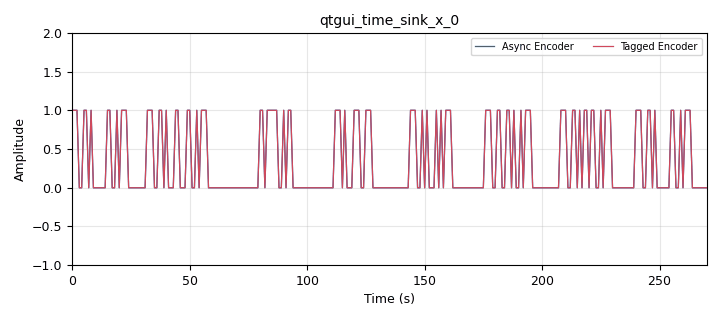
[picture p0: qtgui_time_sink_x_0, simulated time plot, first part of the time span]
<?xml version='1.0' encoding='utf-8'?>
<?grc format='1' created='3.7.10'?>
<flow_graph>
<block>
<key>options</key>
<param><key>id</key><value>fecapi_async_encoders</value></param>
<param><key>category</key><value>Custom</value></param>
<param><key>generate_options</key><value>qt_gui</value></param>
</block>
<block>
<key>variable_cc_encoder_def</key>
<param><key>id</key><value>enc_cc</value></param>
<param><key>padding</key><value>False</value></param>
<param><key>k</key><value>k</value></param>
<param><key>framebits</key><value>8000</value></param>
<param><key>ndim</key><value>0</value></param>
<param><key>polys</key><value>polys</value></param>
<param><key>rate</key><value>rate</value></param>
<param><key>state_start</key><value>0</value></param>
<param><key>mode</key><value>fec.CC_STREAMING</value></param>
</block>
<block>
<key>variable_cc_encoder_def</key>
<param><key>id</key><value>enc_cc_0</value></param>
<param><key>padding</key><value>False</value></param>
<param><key>k</key><value>k</value></param>
<param><key>framebits</key><value>8000</value></param>
<param><key>ndim</key><value>0</value></param>
<param><key>polys</key><value>polys</value></param>
<param><key>rate</key><value>rate</value></param>
<param><key>state_start</key><value>0</value></param>
<param><key>mode</key><value>fec.CC_STREAMING</value></param>
</block>
<block>
<key>variable_dummy_encoder_def</key>
<param><key>id</key><value>enc_dummy</value></param>
<param><key>framebits</key><value>8000</value></param>
<param><key>ndim</key><value>0</value></param>
</block>
<block>
<key>variable_dummy_encoder_def</key>
<param><key>id</key><value>enc_dummy_0</value></param>
<param><key>framebits</key><value>8000</value></param>
<param><key>ndim</key><value>0</value></param>
</block>
<block>
<key>variable_repetition_encoder_def</key>
<param><key>id</key><value>enc_rep</value></param>
<param><key>framebits</key><value>8000</value></param>
<param><key>ndim</key><value>0</value></param>
<param><key>rep</key><value>3</value></param>
</block>
<block>
<key>variable_repetition_encoder_def</key>
<param><key>id</key><value>enc_rep_0</value></param>
<param><key>framebits</key><value>8000</value></param>
<param><key>ndim</key><value>0</value></param>
<param><key>rep</key><value>3</value></param>
</block>
<block>
<key>variable</key>
<param><key>id</key><value>k</value></param>
<param><key>value</key><value>7</value></param>
</block>
<block>
<key>variable</key>
<param><key>id</key><value>polys</value></param>
<param><key>value</key><value>[109, 79]</value></param>
</block>
<block>
<key>variable</key>
<param><key>id</key><value>rate</value></param>
<param><key>value</key><value>2</value></param>
</block>
<block>
<key>variable</key>
<param><key>id</key><value>samp_rate</value></param>
<param><key>value</key><value>50000</value></param>
</block>
<block>
<key>analog_random_source_x</key>
<param><key>id</key><value>analog_random_source_x_0</value></param>
<param><key>_enabled</key><value>False</value></param>
<param><key>max</key><value>256</value></param>
<param><key>min</key><value>0</value></param>
<param><key>num_samps</key><value>1000</value></param>
<param><key>type</key><value>byte</value></param>
<param><key>repeat</key><value>True</value></param>
</block>
<block>
<key>blocks_char_to_float</key>
<param><key>id</key><value>blocks_char_to_float_0_1</value></param>
<param><key>scale</key><value>1</value></param>
</block>
<block>
<key>blocks_char_to_float</key>
<param><key>id</key><value>blocks_char_to_float_1</value></param>
<param><key>scale</key><value>1</value></param>
</block>
<block>
<key>blocks_ctrlport_monitor_performance</key>
<param><key>id</key><value>blocks_ctrlport_monitor_performance_0</value></param>
<param><key>_enabled</key><value>False</value></param>
<param><key>en</key><value>True</value></param>
</block>
<block>
<key>blocks_message_debug</key>
<param><key>id</key><value>blocks_message_debug_0</value></param>
</block>
<block>
<key>blocks_pdu_to_tagged_stream</key>
<param><key>id</key><value>blocks_pdu_to_tagged_stream_0</value></param>
<param><key>type</key><value>byte</value></param>
<param><key>tag</key><value>pkt_len</value></param>
</block>
<block>
<key>blocks_repack_bits_bb</key>
<param><key>id</key><value>blocks_repack_bits_bb_0</value></param>
<param><key>k</key><value>8</value></param>
<param><key>l</key><value>1</value></param>
<param><key>endianness</key><value>gr.GR_LSB_FIRST</value></param>
<param><key>len_tag_key</key><value>pkt_len</value></param>
<param><key>align_output</key><value>True</value></param>
</block>
<block>
<key>blocks_repack_bits_bb</key>
<param><key>id</key><value>blocks_repack_bits_bb_0_0</value></param>
<param><key>k</key><value>8</value></param>
<param><key>l</key><value>1</value></param>
<param><key>endianness</key><value>gr.GR_LSB_FIRST</value></param>
<param><key>len_tag_key</key><value>pkt_len</value></param>
</block>
<block>
<key>blocks_stream_to_tagged_stream</key>
<param><key>id</key><value>blocks_stream_to_tagged_stream_0_0</value></param>
<param><key>len_tag_key</key><value>pkt_len</value></param>
<param><key>packet_len</key><value>frame_size</value></param>
<param><key>type</key><value>byte</value></param>
</block>
<block>
<key>blocks_tagged_stream_to_pdu</key>
<param><key>id</key><value>blocks_tagged_stream_to_pdu_0</value></param>
<param><key>type</key><value>byte</value></param>
<param><key>tag</key><value>pkt_len</value></param>
</block>
<block>
<key>blocks_throttle</key>
<param><key>id</key><value>blocks_throttle_0</value></param>
<param><key>samples_per_second</key><value>samp_rate</value></param>
<param><key>type</key><value>byte</value></param>
</block>
<block>
<key>blocks_vector_source_x</key>
<param><key>id</key><value>blocks_vector_source_x_0_1_0</value></param>
<param><key>type</key><value>byte</value></param>
<param><key>repeat</key><value>True</value></param>
<param><key>vector</key><value>(frame_size/15)*[0, 0, 1, 0, 3, 0, 7, 0, 15, 0, 31, 0, 63, 0, 127]</value></param>
</block>
<block>
<key>fec_async_encoder</key>
<param><key>id</key><value>fec_async_encoder_0</value></param>
<param><key>encoder</key><value>enc_cc</value></param>
<param><key>mtu</key><value>1500</value></param>
<param><key>packed</key><value>True</value></param>
</block>
<block>
<key>fec_extended_tagged_encoder</key>
<param><key>id</key><value>fec_extended_tagged_encoder_0</value></param>
<param><key>encoder_list</key><value>enc_cc</value></param>
<param><key>lentagname</key><value>pkt_len</value></param>
<param><key>mtu</key><value>1500</value></param>
<param><key>puncpat</key><value>puncpat</value></param>
</block>
<block>
<key>parameter</key>
<param><key>id</key><value>frame_size</value></param>
<param><key>label</key><value>Frame Size</value></param>
<param><key>type</key><value>intx</value></param>
<param><key>value</key><value>30</value></param>
</block>
<block>
<key>parameter</key>
<param><key>id</key><value>puncpat</value></param>
<param><key>type</key><value>string</value></param>
<param><key>value</key><value>'11'</value></param>
</block>
<block>
<key>qtgui_time_sink_x</key>
<param><key>id</key><value>qtgui_time_sink_x_0</value></param>
<param><key>color1</key><value>"blue"</value></param>
<param><key>label1</key><value>Async Encoder</value></param>
<param><key>alpha2</key><value>0.6</value></param>
<param><key>color2</key><value>"red"</value></param>
<param><key>label2</key><value>Tagged Encoder</value></param>
<param><key>name</key><value></value></param>
<param><key>nconnections</key><value>2</value></param>
<param><key>size</key><value>2048</value></param>
<param><key>srate</key><value>1</value></param>
<param><key>type</key><value>float</value></param>
<param><key>update_time</key><value>0.01</value></param>
<param><key>ymax</key><value>2</value></param>
</block>
<connection><source_block_id>analog_random_source_x_0</source_block_id><sink_block_id>blocks_throttle_0</sink_block_id><source_key>0</source_key><sink_key>0</sink_key></connection>
<connection><source_block_id>blocks_char_to_float_0_1</source_block_id><sink_block_id>qtgui_time_sink_x_0</sink_block_id><source_key>0</source_key><sink_key>0</sink_key></connection>
<connection><source_block_id>blocks_char_to_float_1</source_block_id><sink_block_id>qtgui_time_sink_x_0</sink_block_id><source_key>0</source_key><sink_key>1</sink_key></connection>
<connection><source_block_id>blocks_pdu_to_tagged_stream_0</source_block_id><sink_block_id>blocks_repack_bits_bb_0</sink_block_id><source_key>0</source_key><sink_key>0</sink_key></connection>
<connection><source_block_id>blocks_repack_bits_bb_0</source_block_id><sink_block_id>blocks_char_to_float_0_1</sink_block_id><source_key>0</source_key><sink_key>0</sink_key></connection>
<connection><source_block_id>blocks_repack_bits_bb_0_0</source_block_id><sink_block_id>fec_extended_tagged_encoder_0</sink_block_id><source_key>0</source_key><sink_key>0</sink_key></connection>
<connection><source_block_id>blocks_stream_to_tagged_stream_0_0</source_block_id><sink_block_id>blocks_repack_bits_bb_0_0</sink_block_id><source_key>0</source_key><sink_key>0</sink_key></connection>
<connection><source_block_id>blocks_stream_to_tagged_stream_0_0</source_block_id><sink_block_id>blocks_tagged_stream_to_pdu_0</sink_block_id><source_key>0</source_key><sink_key>0</sink_key></connection>
<connection><source_block_id>blocks_tagged_stream_to_pdu_0</source_block_id><sink_block_id>fec_async_encoder_0</sink_block_id><source_key>pdus</source_key><sink_key>in</sink_key></connection>
<connection><source_block_id>blocks_throttle_0</source_block_id><sink_block_id>blocks_stream_to_tagged_stream_0_0</sink_block_id><source_key>0</source_key><sink_key>0</sink_key></connection>
<connection><source_block_id>blocks_vector_source_x_0_1_0</source_block_id><sink_block_id>blocks_throttle_0</sink_block_id><source_key>0</source_key><sink_key>0</sink_key></connection>
<connection><source_block_id>fec_async_encoder_0</source_block_id><sink_block_id>blocks_message_debug_0</sink_block_id><source_key>out</source_key><sink_key>print_pdu</sink_key></connection>
<connection><source_block_id>fec_async_encoder_0</source_block_id><sink_block_id>blocks_pdu_to_tagged_stream_0</sink_block_id><source_key>out</source_key><sink_key>pdus</sink_key></connection>
<connection><source_block_id>fec_extended_tagged_encoder_0</source_block_id><sink_block_id>blocks_char_to_float_1</sink_block_id><source_key>0</source_key><sink_key>0</sink_key></connection>
</flow_graph>
